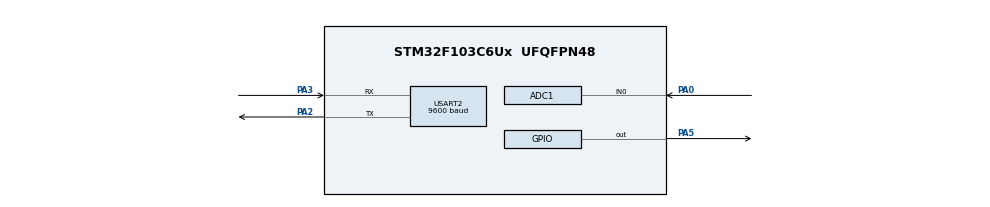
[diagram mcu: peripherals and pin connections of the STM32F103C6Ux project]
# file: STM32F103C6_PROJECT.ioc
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ADC1.Channel-1\#ChannelRegularConversion=ADC_CHANNEL_0
ADC1.ContinuousConvMode=ENABLE
ADC1.NbrOfConversionFlag=1
ADC1.Rank-1\#ChannelRegularConversion=1
ADC1.SamplingTime-1\#ChannelRegularConversion=ADC_SAMPLETIME_1CYCLE_5
ADC1.master=1
Mcu.Family=STM32F1
Mcu.Name=STM32F103C6Ux
Mcu.Package=UFQFPN48
NVIC.PriorityGroup=NVIC_PRIORITYGROUP_4
NVIC.TIM2_IRQn=true\:0\:0\:false\:false\:true\:true\:true\:true
NVIC.USART2_IRQn=true\:0\:0\:false\:false\:true\:true\:true\:true
PA0-WKUP.Signal=ADCx_IN0
PA2.Mode=Asynchronous
PA2.Signal=USART2_TX
PA3.Mode=Asynchronous
PA3.Signal=USART2_RX
PA5.Signal=GPIO_Output
ProjectManager.HeapSize=0x200
ProjectManager.StackSize=0x400
ProjectManager.TargetToolchain=STM32CubeIDE
RCC.APB1Freq_Value=8000000
RCC.APB2Freq_Value=8000000
SH.ADCx_IN0.0=ADC1_IN0,IN0
TIM2.Period=10
TIM2.Prescaler=7999
USART2.BaudRate=9600
USART2.VirtualMode=VM_ASYNC
VP_SYS_VS_ND.Mode=No_Debug
VP_TIM2_VS_ClockSourceINT.Mode=Internal
board=custom

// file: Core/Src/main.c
/* USER CODE BEGIN Header */
/**
 ******************************************************************************
 * @file           : main.c
 * @brief          : Main program body
 ******************************************************************************
 * @attention
 *
 * <h2><center>&copy; Copyright (c) 2024 STMicroelectronics.
 * All rights reserved.</center></h2>
 *
 * This software component is licensed by ST under BSD 3-Clause license,
 * the "License"; You may not use this file except in compliance with the
 * License. You may obtain a copy of the License at:
 *                        opensource.org/licenses/BSD-3-Clause
 *
 ******************************************************************************
 */
/* USER CODE END Header */
#include "main.h"

/* USER CODE BEGIN Includes */
//#include <scheduler.h>
#include <softwareTimer.h>
#include <command_parser_fsm.h>
#include <uart_communication_fsm.h>
#include <stdio.h>
/* USER CODE END Includes */

ADC_HandleTypeDef hadc1;

TIM_HandleTypeDef htim2;

UART_HandleTypeDef huart2;

void SystemClock_Config(void);
static void MX_GPIO_Init(void);
static void MX_TIM2_Init(void);
static void MX_USART2_UART_Init(void);
static void MX_ADC1_Init(void);

/* USER CODE BEGIN 0 */

uint8_t pData = 0;
void HAL_TIM_PeriodElapsedCallback(TIM_HandleTypeDef *htim) {
//	SCH_Update();
	timerRun();
//	getKeyInput();
}
;

//void HAL_UART_RxCpltCallback(UART_HandleTypeDef * huart){
//	if(huart->Instance == USART2){
////		HAL_GPIO_TogglePin(GPIOA, GPIO_PIN_5);
////		HAL_UART_Transmit(&huart2, &pData, 1, 50);
////		HAL_UART_Receive_IT(&huart2, &pData, 1);
//	};
//};
/* USER CODE END 0 */

int main(void)
{

  /* MCU Configuration--------------------------------------------------------*/

  /* Reset of all peripherals, Initializes the Flash interface and the Systick. */
  HAL_Init();

  /* Configure the system clock */
  SystemClock_Config();

  /* Initialize all configured peripherals */
  MX_GPIO_Init();
  MX_TIM2_Init();
  MX_USART2_UART_Init();
  MX_ADC1_Init();
  /* USER CODE BEGIN 2 */
//	update7SEG_init();
//  updateLEDMatrix_init();
//  matrixAnimate_init();

//	SCH_Add_Task(&ledBlinky, NULL, 0, 1000);

//	SCH_Add_Task(&timerRun, NULL, 0, TICK);
//	SCH_Add_Task(&getKeyInput, NULL, 0, TICK);

//	SCH_Add_Task(&fsm_auto_run, NULL, 0, TICK);
//	SCH_Add_Task(&fsm_manual_run, NULL, 0, TICK);
//	SCH_Add_Task(&fsm_setting_run, NULL, 0, TICK);

  	HAL_ADC_Start(&hadc1);
	HAL_TIM_Base_Start_IT(&htim2);
	setTimer(0, 1000);
//	setTimer(1, 500);

  /* USER CODE END 2 */

  /* Infinite loop */
  /* USER CODE BEGIN WHILE */
	uart_communication_init();
	command_parser_init();
	while (1) {
    /* USER CODE END WHILE */

    /* USER CODE BEGIN 3 */
		if(getBufferFlag() == 1){
			command_parser_fsm();
			setBufferFlag(0);
		};
		uart_communication_fsm();

		if(getTimerFlag(0) == 1){
			setTimer(0,1000);
			HAL_GPIO_TogglePin(GPIOA, GPIO_PIN_5);
		}
	};

  /* USER CODE END 3 */
}

void SystemClock_Config(void)
{
  RCC_OscInitTypeDef RCC_OscInitStruct = {0};
  RCC_ClkInitTypeDef RCC_ClkInitStruct = {0};
  RCC_PeriphCLKInitTypeDef PeriphClkInit = {0};

  /** Initializes the RCC Oscillators according to the specified parameters
  * in the RCC_OscInitTypeDef structure.
  */
  RCC_OscInitStruct.OscillatorType = RCC_OSCILLATORTYPE_HSI;
  RCC_OscInitStruct.HSIState = RCC_HSI_ON;
  RCC_OscInitStruct.HSICalibrationValue = RCC_HSICALIBRATION_DEFAULT;
  RCC_OscInitStruct.PLL.PLLState = RCC_PLL_NONE;
  if (HAL_RCC_OscConfig(&RCC_OscInitStruct) != HAL_OK)
  {
    Error_Handler();
  }
  /** Initializes the CPU, AHB and APB buses clocks
  */
  RCC_ClkInitStruct.ClockType = RCC_CLOCKTYPE_HCLK|RCC_CLOCKTYPE_SYSCLK
                              |RCC_CLOCKTYPE_PCLK1|RCC_CLOCKTYPE_PCLK2;
  RCC_ClkInitStruct.SYSCLKSource = RCC_SYSCLKSOURCE_HSI;
  RCC_ClkInitStruct.AHBCLKDivider = RCC_SYSCLK_DIV1;
  RCC_ClkInitStruct.APB1CLKDivider = RCC_HCLK_DIV1;
  RCC_ClkInitStruct.APB2CLKDivider = RCC_HCLK_DIV1;

  if (HAL_RCC_ClockConfig(&RCC_ClkInitStruct, FLASH_LATENCY_0) != HAL_OK)
  {
    Error_Handler();
  }
  PeriphClkInit.PeriphClockSelection = RCC_PERIPHCLK_ADC;
  PeriphClkInit.AdcClockSelection = RCC_ADCPCLK2_DIV2;
  if (HAL_RCCEx_PeriphCLKConfig(&PeriphClkInit) != HAL_OK)
  {
    Error_Handler();
  }
}

static void MX_ADC1_Init(void)
{

  ADC_ChannelConfTypeDef sConfig = {0};

  /** Common config
  */
  hadc1.Instance = ADC1;
  hadc1.Init.ScanConvMode = ADC_SCAN_DISABLE;
  hadc1.Init.ContinuousConvMode = ENABLE;
  hadc1.Init.DiscontinuousConvMode = DISABLE;
  hadc1.Init.ExternalTrigConv = ADC_SOFTWARE_START;
  hadc1.Init.DataAlign = ADC_DATAALIGN_RIGHT;
  hadc1.Init.NbrOfConversion = 1;
  if (HAL_ADC_Init(&hadc1) != HAL_OK)
  {
    Error_Handler();
  }
  /** Configure Regular Channel
  */
  sConfig.Channel = ADC_CHANNEL_0;
  sConfig.Rank = ADC_REGULAR_RANK_1;
  sConfig.SamplingTime = ADC_SAMPLETIME_1CYCLE_5;
  if (HAL_ADC_ConfigChannel(&hadc1, &sConfig) != HAL_OK)
  {
    Error_Handler();
  }

}

static void MX_TIM2_Init(void)
{

  TIM_ClockConfigTypeDef sClockSourceConfig = {0};
  TIM_MasterConfigTypeDef sMasterConfig = {0};

  htim2.Instance = TIM2;
  htim2.Init.Prescaler = 7999;
  htim2.Init.CounterMode = TIM_COUNTERMODE_UP;
  htim2.Init.Period = 10;
  htim2.Init.ClockDivision = TIM_CLOCKDIVISION_DIV1;
  htim2.Init.AutoReloadPreload = TIM_AUTORELOAD_PRELOAD_DISABLE;
  if (HAL_TIM_Base_Init(&htim2) != HAL_OK)
  {
    Error_Handler();
  }
  sClockSourceConfig.ClockSource = TIM_CLOCKSOURCE_INTERNAL;
  if (HAL_TIM_ConfigClockSource(&htim2, &sClockSourceConfig) != HAL_OK)
  {
    Error_Handler();
  }
  sMasterConfig.MasterOutputTrigger = TIM_TRGO_RESET;
  sMasterConfig.MasterSlaveMode = TIM_MASTERSLAVEMODE_DISABLE;
  if (HAL_TIMEx_MasterConfigSynchronization(&htim2, &sMasterConfig) != HAL_OK)
  {
    Error_Handler();
  }

}

static void MX_USART2_UART_Init(void)
{

  huart2.Instance = USART2;
  huart2.Init.BaudRate = 9600;
  huart2.Init.WordLength = UART_WORDLENGTH_8B;
  huart2.Init.StopBits = UART_STOPBITS_1;
  huart2.Init.Parity = UART_PARITY_NONE;
  huart2.Init.Mode = UART_MODE_TX_RX;
  huart2.Init.HwFlowCtl = UART_HWCONTROL_NONE;
  huart2.Init.OverSampling = UART_OVERSAMPLING_16;
  if (HAL_UART_Init(&huart2) != HAL_OK)
  {
    Error_Handler();
  }

}

static void MX_GPIO_Init(void)
{
  GPIO_InitTypeDef GPIO_InitStruct = {0};

  /* GPIO Ports Clock Enable */
  __HAL_RCC_GPIOA_CLK_ENABLE();

  /*Configure GPIO pin Output Level */
  HAL_GPIO_WritePin(GPIOA, GPIO_PIN_5, GPIO_PIN_RESET);

  /*Configure GPIO pin : PA5 */
  GPIO_InitStruct.Pin = GPIO_PIN_5;
  GPIO_InitStruct.Mode = GPIO_MODE_OUTPUT_PP;
  GPIO_InitStruct.Pull = GPIO_NOPULL;
  GPIO_InitStruct.Speed = GPIO_SPEED_FREQ_LOW;
  HAL_GPIO_Init(GPIOA, &GPIO_InitStruct);

}

void Error_Handler(void)
{
	__disable_irq();
	while (1) {
	}
}

/************************ (C) COPYRIGHT STMicroelectronics *****END OF FILE****/
